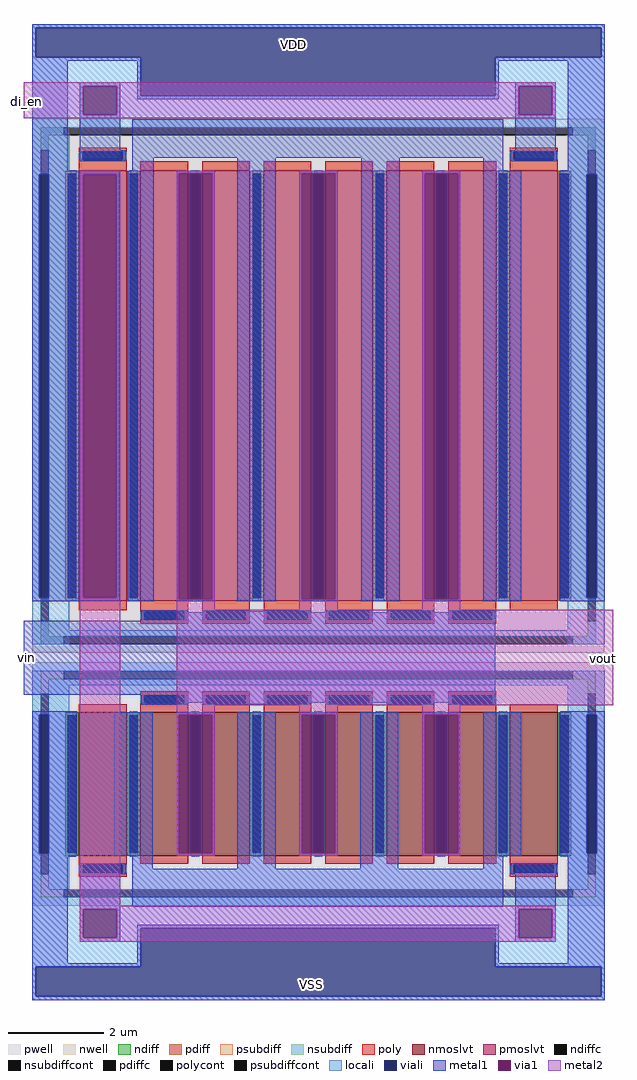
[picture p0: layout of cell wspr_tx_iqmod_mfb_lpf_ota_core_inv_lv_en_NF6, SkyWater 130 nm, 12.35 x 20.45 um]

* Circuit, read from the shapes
.subckt wspr_tx_iqmod_mfb_lpf_ota_core_inv_lv_en_NF6 di_en VSS VDD vin vout
XM1 sky130_fd_pr__nfet_01v8_lvt_WHJEU4_0/S1 VDD VSS VSS sky130_fd_pr__nfet_01v8_lvt w=3 l=1 m=2
XM2 vout vin sky130_fd_pr__nfet_01v8_lvt_WHJEU4_0/S1 VSS sky130_fd_pr__nfet_01v8_lvt w=3 l=1 m=6
XM3 sky130_fd_pr__pfet_01v8_lvt_P4QH36_0/S1 di_en VDD VDD sky130_fd_pr__pfet_01v8_lvt w=9 l=1 m=2
XM4 vout vin sky130_fd_pr__pfet_01v8_lvt_P4QH36_0/S1 VDD sky130_fd_pr__pfet_01v8_lvt w=9 l=1 m=6
.ends

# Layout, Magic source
magic
tech sky130A
magscale 1 2
<< locali >>
rect -130 4680 2270 4695
rect -130 4555 -115 4680
rect 2255 4555 2270 4680
rect -130 4395 325 4555
rect 1810 4395 2270 4555
rect -130 4260 2270 4395
rect -130 4065 25 4260
rect -130 2290 -100 4065
rect -60 2290 25 4065
rect -130 2155 25 2290
rect 2115 4065 2270 4260
rect 2115 2290 2195 4065
rect 2235 2290 2270 4065
rect 2115 2155 2270 2290
rect -130 2130 2270 2155
rect -130 2095 25 2130
rect 2115 2095 2270 2130
rect -130 1925 2270 1985
rect -130 1800 25 1925
rect -130 1220 -100 1800
rect -60 1220 25 1800
rect -130 1070 25 1220
rect 2115 1800 2270 1925
rect 2115 1220 2195 1800
rect 2235 1220 2270 1800
rect 2115 1070 2270 1220
rect -130 905 2270 1070
rect -130 745 325 905
rect 1810 745 2270 905
rect -130 620 -115 745
rect 2255 620 2270 745
rect -130 605 2270 620
<< viali >>
rect -115 4555 2255 4680
rect 325 4395 1810 4555
rect -100 2290 -60 4065
rect 2195 2290 2235 4065
rect -100 1220 -60 1800
rect 2195 1220 2235 1800
rect 325 745 1810 905
rect -115 620 2255 745
<< metal1 >>
rect -130 4680 2270 4695
rect -130 4555 -115 4680
rect 2255 4555 2270 4680
rect -130 4540 325 4555
rect -130 4080 20 4540
rect 70 4435 240 4450
rect 70 4315 85 4435
rect 225 4315 240 4435
rect 310 4395 325 4540
rect 1810 4540 2270 4555
rect 1810 4395 1825 4540
rect 310 4380 1825 4395
rect 1895 4435 2065 4450
rect 70 4130 240 4315
rect 1895 4315 1910 4435
rect 2050 4315 2065 4435
rect 290 4135 1845 4295
rect 290 4080 380 4135
rect -130 4065 235 4080
rect -130 2290 -100 4065
rect -60 2290 85 4065
rect 225 2290 235 4065
rect -130 2275 235 2290
rect 270 2275 380 4080
rect 475 4070 635 4080
rect 475 2285 485 4070
rect 625 2285 635 4070
rect 475 2275 635 2285
rect 730 2275 890 4135
rect 990 4070 1150 4080
rect 990 2285 1000 4070
rect 1140 2285 1150 4070
rect 990 2275 1150 2285
rect 1250 2275 1410 4135
rect 1760 4080 1845 4135
rect 1895 4130 2065 4315
rect 2115 4080 2270 4540
rect 1505 4070 1665 4080
rect 1505 2285 1515 4070
rect 1655 2285 1665 4070
rect 1505 2275 1665 2285
rect 1760 2275 1920 4080
rect 2085 4065 2270 4080
rect 2085 2290 2195 4065
rect 2235 2290 2270 4065
rect 2085 2275 2270 2290
rect 730 2230 890 2235
rect 330 2195 1810 2230
rect -165 1885 1810 2195
rect 330 1850 1810 1885
rect 730 1845 890 1850
rect -130 1810 60 1815
rect -130 1800 55 1810
rect -130 1220 -100 1800
rect -60 1220 55 1800
rect -130 1205 55 1220
rect 215 1210 375 1810
rect 475 1800 635 1810
rect 475 1220 485 1800
rect 625 1220 635 1800
rect 475 1210 635 1220
rect -130 760 20 1205
rect 70 985 240 1170
rect 290 1155 375 1210
rect 730 1155 890 1810
rect 990 1800 1150 1810
rect 990 1220 1000 1800
rect 1140 1220 1150 1800
rect 990 1210 1150 1220
rect 1245 1155 1405 1810
rect 1505 1800 1665 1810
rect 1505 1220 1515 1800
rect 1655 1220 1665 1800
rect 1505 1210 1665 1220
rect 1760 1210 1920 1810
rect 2085 1800 2270 1815
rect 2085 1220 2195 1800
rect 2235 1220 2270 1800
rect 2085 1210 2270 1220
rect 1760 1155 1845 1210
rect 290 995 1845 1155
rect 70 865 85 985
rect 225 865 240 985
rect 1895 985 2065 1170
rect 70 850 240 865
rect 310 905 1825 920
rect 310 760 325 905
rect -130 745 325 760
rect 1810 760 1825 905
rect 1895 865 1910 985
rect 2050 865 2065 985
rect 1895 850 2065 865
rect 2115 760 2270 1210
rect 1810 745 2270 760
rect -130 620 -115 745
rect 2255 620 2270 745
rect -130 605 2270 620
<< via1 >>
rect 85 4315 225 4435
rect 1910 4315 2050 4435
rect 85 2290 225 4065
rect 485 2285 625 4070
rect 1000 2285 1140 4070
rect 1515 2285 1655 4070
rect 485 1220 625 1800
rect 1000 1220 1140 1800
rect 1515 1220 1655 1800
rect 85 865 225 985
rect 1910 865 2050 985
<< metal2 >>
rect -165 4435 2065 4450
rect -165 4315 85 4435
rect 225 4315 1910 4435
rect 2050 4315 2065 4435
rect -165 4300 2065 4315
rect 70 4065 240 4080
rect 70 2290 85 4065
rect 225 2290 240 4065
rect 70 1000 240 2290
rect 475 4070 635 4080
rect 475 2285 485 4070
rect 625 2285 635 4070
rect 475 2240 635 2285
rect 990 4070 1150 4080
rect 990 2285 1000 4070
rect 1140 2285 1150 4070
rect 990 2240 1150 2285
rect 1505 4070 1665 4080
rect 1505 2285 1515 4070
rect 1655 2285 1665 4070
rect 1505 2240 1665 2285
rect 475 1840 2305 2240
rect 475 1800 635 1840
rect 475 1220 485 1800
rect 625 1220 635 1800
rect 475 1210 635 1220
rect 990 1800 1150 1840
rect 990 1220 1000 1800
rect 1140 1220 1150 1800
rect 990 1210 1150 1220
rect 1505 1800 1665 1840
rect 1505 1220 1515 1800
rect 1655 1220 1665 1800
rect 1505 1210 1665 1220
rect 70 985 2065 1000
rect 70 865 85 985
rect 225 865 1910 985
rect 2050 865 2065 985
rect 70 850 2065 865
use sky130_fd_pr__nfet_01v8_lvt_WHJEU4  sky130_fd_pr__nfet_01v8_lvt_WHJEU4_0
transform 1 0 1069 0 1 1510
box -1199 -510 1199 510
use sky130_fd_pr__pfet_01v8_lvt_P4QH36  sky130_fd_pr__pfet_01v8_lvt_P4QH36_0
transform 1 0 1069 0 1 3179
box -1199 -1119 1199 1119
<< labels >>
flabel metal2 -155 4370 -155 4370 0 FreeSans 320 0 0 0 di_en
port 8 nsew
flabel viali 1040 670 1040 670 0 FreeSans 400 0 0 0 VSS
port 10 nsew
flabel metal1 -155 2040 -155 2040 0 FreeSans 320 0 0 0 vin
port 12 nsew
flabel metal2 2265 2035 2265 2035 0 FreeSans 320 0 0 0 vout
port 13 nsew
flabel viali 965 4610 965 4610 0 FreeSans 400 0 0 0 VDD
port 11 nsew
<< end >>

# cell sky130_fd_pr__nfet_01v8_lvt_WHJEU4: kit device sky130_fd_pr__nfet_01v8_lvt, w 3 l 1 m 1 nf 8 diffcov 100 polycov 100 guard 1 glc 1 grc 1 gtc 1 gbc 1 tbcov 100 rlcov 100 topc 1 botc 1 poverlap 0 doverlap 1 lmin 0.15 wmin 0.42 class mosfet compatible {sky130_fd_pr__nfet_01v8 sky130_fd_pr__nfet_01v8_lvt sky130_fd_bs_flash__special_sonosfet_star sky130_fd_pr__nfet_g5v0d10v5 sky130_fd_pr__nfet_05v0_nvt sky130_fd_pr__nfet_03v3_nvt} full_metal 1 viasrc 100 viadrn 100 viagate 100 viagb 0 viagr 0 viagl 0 viagt 0 doports 1

# cell sky130_fd_pr__pfet_01v8_lvt_P4QH36: kit device sky130_fd_pr__pfet_01v8_lvt, w 9 l 1 m 1 nf 8 diffcov 100 polycov 100 guard 1 glc 1 grc 1 gtc 1 gbc 1 tbcov 100 rlcov 100 topc 1 botc 1 poverlap 0 doverlap 1 lmin 0.35 wmin 0.42 class mosfet compatible {sky130_fd_pr__pfet_01v8 sky130_fd_pr__pfet_01v8_lvt sky130_fd_pr__pfet_01v8_hvt sky130_fd_pr__pfet_g5v0d10v5} full_metal 1 viasrc 100 viadrn 100 viagate 100 viagb 0 viagr 0 viagl 0 viagt 0 doports 1
